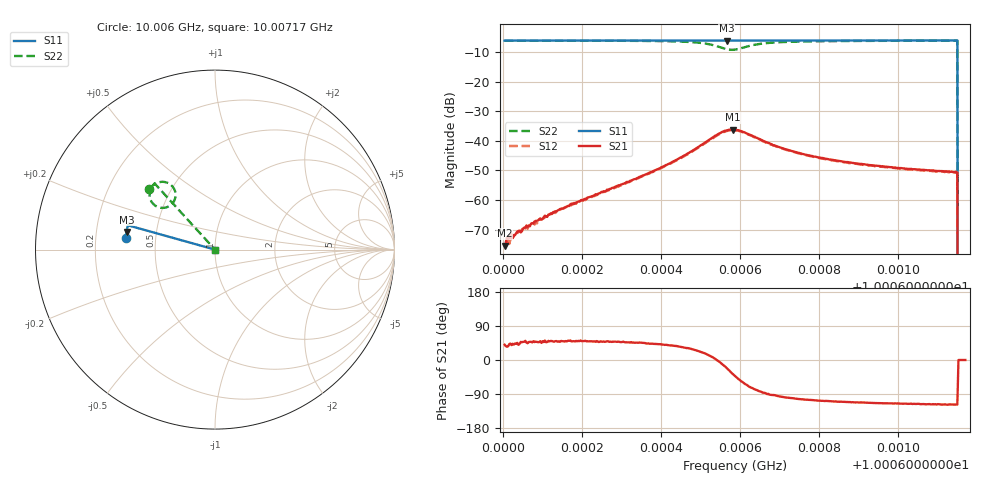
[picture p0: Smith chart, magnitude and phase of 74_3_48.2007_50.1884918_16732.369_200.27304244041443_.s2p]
#  HZ  S  RI  R  50.00
! Rohde & Schwarz Vector Network Analyzer
! Rohde-Schwarz,ZNB20-2Port,1311601062101988,3.16
! Created: UTC 3/20/2024, 11:39:18 AM
! freq[Hz]  re:S11  im:S11  re:S21  im:S21  re:S12  im:S12  re:S22  im:S22
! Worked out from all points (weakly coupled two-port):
!   401 points, 10.006 GHz to 10.00717 GHz, reference 50 ohm
!   highest |S21| = -36.12 dB at 10.00658 GHz (marker M1); lowest = -75.4 dB at 10.006 GHz (marker M2)
!   lowest |S11| = -6.0 dB at 10.00657 GHz (marker M3), VSWR 3.01, Z = 16.8 + j4.41 ohm
!   |S11| at or under -10 dB: 10.00715 GHz to end of sweep
!   |S22| runs from - to -6.0 dB; largest |S21 - S12| = 0.001
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1.0006003e10  -0.4977 0.0626  0.000129 0.000109  0.000149 0.000108  -0.3663 0.3382
1.0006012e10  -0.4976 0.0631  0.000175 0.000128  0.000164 0.000148  -0.3659 0.3387
1.0006015e10  -0.4974 0.0632  0.000191 0.000169  0.000123 0.000132  -0.3657 0.3389
1.0006024e10  -0.4977 0.0638  0.000166 0.000154  0.000163 0.000159  -0.365 0.3397
1.0006053e10  -0.4975 0.0658  0.000227 0.000253  0.000246 0.000252  -0.3633 0.3416
1.0006085e10  -0.4971 0.0679  0.0003 0.000329  0.000244 0.000319  -0.3612 0.3439
1.000612e10  -0.4969 0.0702  0.00038 0.000456  0.000343 0.000468  -0.3585 0.3463
1.0006199e10  -0.4962 0.0753  0.000648 0.000764  0.000606 0.00078  -0.3521 0.3527
1.0006395e10  -0.4945 0.0881  0.00254 0.00226  0.00239 0.00232  -0.3221 0.3721
1.0006456e10  -0.4937 0.0921  0.0046 0.00306  0.00435 0.00321  -0.2983 0.3776
1.0006508e10  -0.4927 0.0955  0.00863 0.00291  0.00827 0.00326  -0.2585 0.369
1.0006567e10  -0.4913 0.0986  0.0141 -0.00569  0.014 -0.00481  -0.2245 0.2789
1.0006581e10  -0.4912 0.0991  0.0125 -0.00936  0.0127 -0.0084  -0.2455 0.2491
1.0006587e10  -0.4913 0.0993  0.0114 -0.0104  0.0117 -0.00949  -0.2575 0.2412
1.0006651e10  -0.4916 0.1032  0.00126 -0.0105  0.00176 -0.0104  -0.353 0.2655
1.000671e10  -0.4913 0.1072  -0.00101 -0.0074  -0.000614 -0.0073  -0.3647 0.3029
1.0006783e10  -0.4903 0.112  -0.0015 -0.00536  -0.00123 -0.0053  -0.3613 0.327
1.0006882e10  -0.4892 0.1184  -0.00158 -0.00399  -0.00133 -0.00395  -0.3541 0.3445
1.0006978e10  -0.4878 0.1246  -0.00149 -0.00329  -0.00134 -0.00329  -0.3474 0.3552
1.0007145e10  -0.4855 0.1351  -0.00138 -0.00263  -0.00123 -0.00262  -0.337 0.3685
1.0007159e10  0 0  0 0  0 0  0 0
1.0007171e10  0 0  0 0  0 0  0 0
